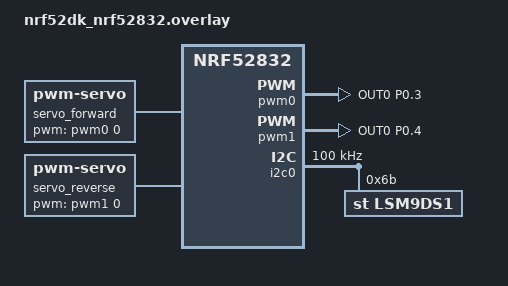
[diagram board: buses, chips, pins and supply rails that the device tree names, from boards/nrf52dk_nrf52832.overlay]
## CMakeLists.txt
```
cmake_minimum_required(VERSION 3.13.1)
find_package(Zephyr REQUIRED HINTS $ENV{ZEPHYR_BASE})
project(spinsat VERSION 1.0 DESCRIPTION "SpinSat Software" LANGUAGES C CXX)

target_sources(app PRIVATE src/main.c)
target_include_directories(app PRIVATE core)

add_subdirectory(core)
target_link_libraries(app PRIVATE core_lib)

zephyr_include_directories(${ZEPHYR_BASE}/drivers/sensor/st/stmemsc)
```

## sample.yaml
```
# This file is provided so that the application can be compiled using Twister,
# the Zephyr testing tool. In this file, multiple combinations can be specified,
# so that you can easily test all of them locally or in CI.
sample:
  description: The spinsat config
  name: spinsat
common:
  build_only: true
  integration_platforms:
    - custom_plank
    - nucleo_f302r8
    - nrf52dk/nrf52832
    - qemu_x86
tests:
  app.default: {}
  app.debug:
    extra_overlay_confs:
      - debug.conf
```

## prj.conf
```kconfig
# Copyright (c) 2021 Nordic Semiconductor ASA
# SPDX-License-Identifier: Apache-2.0
#
# This file contains selected Kconfig options for the application.

# Logging
CONFIG_LOG=y
CONFIG_APP_LOG_LEVEL_DBG=y

# Custom Libraries
CONFIG_BLUETOOTH=y
CONFIG_STATE_MACHINE=y
CONFIG_IMU=y
CONFIG_MOTOR=y

CONFIG_IMU_GYRO_ODR=119
CONFIG_IMU_ACCEL_ODR=119
CONFIG_IMU_MAG_ODR=10
CONFIG_IMU_CALIBRATION_SAMPLES=100

# Bluetooth LE
CONFIG_BT=y

CONFIG_BT_PERIPHERAL=y
CONFIG_BT_DEVICE_NAME="Spinsat"

# I/O
CONFIG_PWM=y
CONFIG_GPIO=y

# Sensors
CONFIG_SENSOR=y
CONFIG_LSM9DS1=y

# Bus
CONFIG_I2C=y

# Power off
CONFIG_POWEROFF=y

# Stack & Heap
CONFIG_SYSTEM_WORKQUEUE_STACK_SIZE=2048
CONFIG_MAIN_STACK_SIZE=2048
CONFIG_HEAP_MEM_POOL_SIZE=8192

# USB
CONFIG_USB_DEVICE_STACK=y
CONFIG_USB_DEVICE_INITIALIZE_AT_BOOT=y

# New Lib
CONFIG_NEWLIB_LIBC=y
```

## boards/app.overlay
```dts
&i2c {
    status = "okay";

    lsm9ds1: lsm9ds1@6a {
        compatible = "st,lsm9ds1";
        reg = <0x6a>;
        status = "okay";
    };
};
```

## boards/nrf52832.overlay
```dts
/* SPDX-License-Identifier: Apache-2.0 */
/ {
	servo: servo {
		compatible = "pwm-servo";
		pwms = <&pwm0 0 PWM_MSEC(20) PWM_POLARITY_NORMAL>; /* PWM_MSEC(20) is 50Hz frequency*/
	};
};

&pwm0 {
	status = "okay";
  pinctrl-0 = <&pwm0_default>;
  pinctrl-names = "default";
};

&pinctrl {
    pwm0_default: pwm0_default {
        group1 {
            psels = <NRF_PSEL(PWM_OUT0, 0, 19)>;
        };
    };
};

&i2c0 {
    status = "okay";
    clock-frequency = <100000>;
    lsm9ds1: lsm9ds1@6b {
        compatible = "st,lsm9ds1";
        reg = <0x6b>;
        label = "LSM9DS1";
    };
};
```

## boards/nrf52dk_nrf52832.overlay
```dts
/* DEFINE SERVO FORWARD - Configure which pins pwm0 should use */
/ {
    servo_forward: servo_forward {
        compatible = "pwm-servo";
        pwms = <&pwm0 0 PWM_MSEC(20) PWM_POLARITY_NORMAL>;
        min-pulse = <PWM_USEC(1000)>;
        max-pulse = <PWM_USEC(1300)>;
    };
};

&pwm0 {
    status = "okay";
    pinctrl-0 = <&pwm0_custom_motor>;
    pinctrl-1 = <&pwm0_csleep_motor>;
    pinctrl-names = "default", "sleep";
};

&pinctrl {
    pwm0_custom_motor: pwm0_custom_motor {
        group1 {
            psels = <NRF_PSEL(PWM_OUT0, 0, 3)>;
            nordic,invert;
        };
    };

    pwm0_csleep_motor: pwm0_csleep_motor {
        group1 {
            psels = <NRF_PSEL(PWM_OUT0, 0, 3)>;
            nordic,invert;
        };
    };
};

/* DEFINE SERVO REVERSE - Configure which pins pwm1 should use */
/ {
    servo_reverse: servo_reverse {
        compatible = "pwm-servo";
        pwms = <&pwm1 0 PWM_MSEC(20) PWM_POLARITY_NORMAL>;
        min-pulse = <PWM_USEC(1000)>;
        max-pulse = <PWM_USEC(1300)>;
    };
};

&pwm1 {
    status = "okay";
    pinctrl-0 = <&pwm1_custom_motor>;
    pinctrl-1 = <&pwm1_csleep_motor>;
    pinctrl-names = "default", "sleep";
};

&pinctrl {
    pwm1_custom_motor: pwm1_custom_motor {
        group1 {
            psels = <NRF_PSEL(PWM_OUT0, 0, 4)>;
            nordic,invert;
        };
    };

    pwm1_csleep_motor: pwm1_csleep_motor {
        group1 {
            psels = <NRF_PSEL(PWM_OUT0, 0, 4)>;
            nordic,invert;
        };
    };
};

&i2c0 {
    status = "okay";
    clock-frequency = <100000>;
    lsm9ds1: lsm9ds1@6b {
        compatible = "st,lsm9ds1";
        reg = <0x6b>;
        label = "LSM9DS1";
    };
};
```

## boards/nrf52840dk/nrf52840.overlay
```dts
&i2c1 {
    status = "okay";
    lsm9ds1: lsm9ds1@6b {
        compatible = "st,lsm9ds1";
        reg = <0x6b>;
        status = "okay";
        accel-range = <2>;
        imu-odr = <3>;
        gyro-range = <1>;
    };
};
```

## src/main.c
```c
/*
 * Copyright (c) 2025 NTNU EiT - TTK4852
 * SPDX-License-Identifier: Apache-2.0
 */

#include "app/lib/state_machine.h"
#include <app_version.h>
#include <zephyr/kernel.h>
#include <zephyr/logging/log.h>

LOG_MODULE_REGISTER(main, CONFIG_APP_LOG_LEVEL);

int main(void) {
  LOG_INF("SPINSAT VERSION - %s - STARTING\n", APP_VERSION_STRING);

  int err = state_machine_init();
  if (err) {
    LOG_ERR("Failed to initialize state machine");
    return err;
  }

  for (;;) {
    err = state_machine_handle();
    if (err) {
      LOG_ERR("State machine handle failed: %d", err);
      return err;
    }
    k_sleep(K_MSEC(100));
  }

  return 0;
}
```
